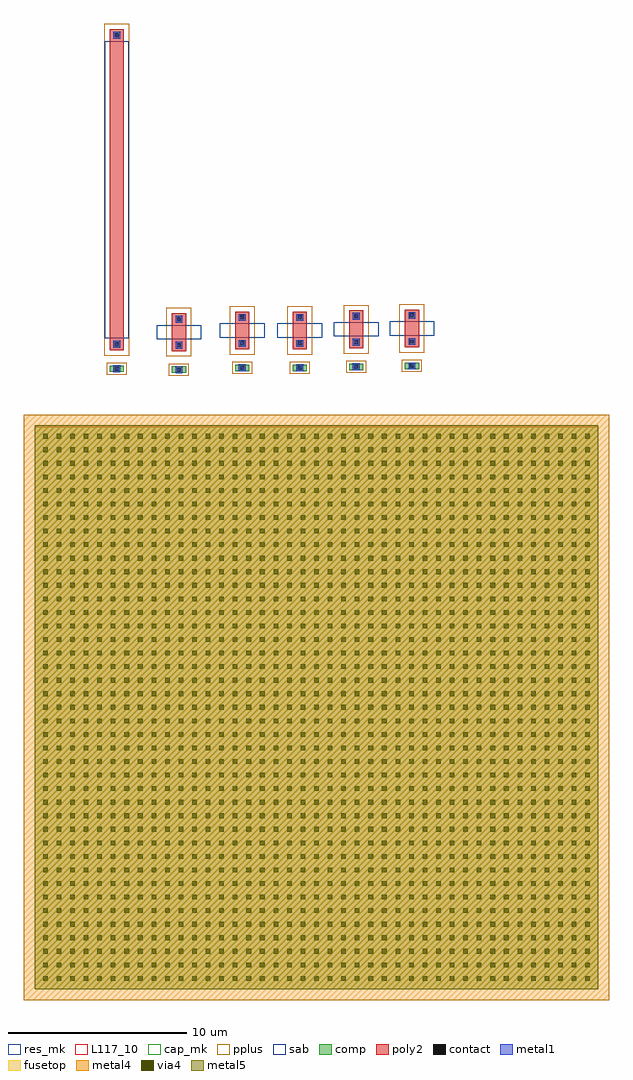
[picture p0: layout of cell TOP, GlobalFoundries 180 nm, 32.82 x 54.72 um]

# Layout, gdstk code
from math import pi, radians
import gdstk
lib = gdstk.Library(unit=1e-6, precision=1e-09)
def R(c, l, rs):  # rectangles x0, y0, x1, y1
    for r in rs: c.add(gdstk.rectangle(r[:2], r[2:], *l))
def A(c, l, x, y, w, h, nx, ny, dx, dy):  # array of equal rectangles
    R(c, l, [(x+i*dx, y+j*dy, x+i*dx+w, y+j*dy+h) for i in range(nx) for j in range(ny)])
comp = (22, 0)
poly2 = (30, 0)
pplus = (31, 0)
contact = (33, 0)
metal1 = (34, 0)
via4 = (41, 0)
metal4 = (46, 0)
sab = (49, 0)
fusetop = (75, 0)
metal5 = (81, 0)
res_mk = (110, 5)
cap_mk = (117, 5)
L117_10 = (117, 10)

ppolyf_u_resistor = lib.new_cell('ppolyf_u_resistor')
R(ppolyf_u_resistor, comp, [(-1.88,0,-1.52,0.8)])
R(ppolyf_u_resistor, poly2, [(-0.66,0,1.46,0.8)])
R(ppolyf_u_resistor, pplus, [(-0.96,-0.3,1.76,1.1), (-2.04,-0.16,-1.36,0.96)])
R(ppolyf_u_resistor, contact, [(-1.81,0.29,-1.59,0.51), (-0.44,0.29,-0.22,0.51), (1.02,0.29,1.24,0.51)])
R(ppolyf_u_resistor, metal1, [(-1.89,0.209,-1.51,0.591), (-0.52,0.209,-0.14,0.591), (0.94,0.209,1.32,0.591)])
R(ppolyf_u_resistor, sab, [(0,-0.856,0.8,1.656)])
R(ppolyf_u_resistor, res_mk, [(0,0,0.8,0.8)])

cap_mim = lib.new_cell('cap_mim')
A(cap_mim, via4, 0.48, 0.48, 0.26, 0.26, 41, 41, 0.76, 0.76)
R(cap_mim, metal4, [(-0.6,-0.6,32.22,32.22)])
R(cap_mim, fusetop, [(0,0,31.62,31.62)])
R(cap_mim, metal5, [(0,0,31.62,31.62)])
R(cap_mim, cap_mk, [(-0.6,-0.6,32.22,32.22)])
R(cap_mim, L117_10, [(0,0,31.62,0.1)])

ppolyf_u_resistor_2 = lib.new_cell('ppolyf_u_resistor$2')
R(ppolyf_u_resistor_2, comp, [(-1.88,0,-1.52,0.8)])
R(ppolyf_u_resistor_2, poly2, [(-0.66,0,17.33,0.8)])
R(ppolyf_u_resistor_2, pplus, [(-0.96,-0.3,17.63,1.1), (-2.04,-0.16,-1.36,0.96)])
R(ppolyf_u_resistor_2, contact, [(-1.81,0.29,-1.59,0.51), (-0.44,0.29,-0.22,0.51), (16.89,0.29,17.11,0.51)])
R(ppolyf_u_resistor_2, metal1, [(-1.89,0.209,-1.51,0.591), (-0.52,0.209,-0.14,0.591), (16.81,0.209,17.19,0.591)])
R(ppolyf_u_resistor_2, sab, [(0,-0.28,16.67,1.08)])
R(ppolyf_u_resistor_2, res_mk, [(0,0,16.67,0.8)])

top = lib.new_cell('TOP')
top.add(gdstk.Reference(ppolyf_u_resistor, (22.54,37.6), rotation=pi/2))
top.add(gdstk.Reference(cap_mim, (32.6,32.57), rotation=pi))
top.add(gdstk.Reference(ppolyf_u_resistor, (19.42,37.55), rotation=pi/2))
top.add(gdstk.Reference(ppolyf_u_resistor, (16.25,37.49), rotation=pi/2))
top.add(gdstk.Reference(ppolyf_u_resistor, (13.03,37.49), rotation=pi/2))
top.add(gdstk.Reference(ppolyf_u_resistor, (9.48,37.39), rotation=pi/2))
top.add(gdstk.Reference(ppolyf_u_resistor_2, (5.99,37.44), rotation=pi/2))

lib.write_gds('TOP.gds')
